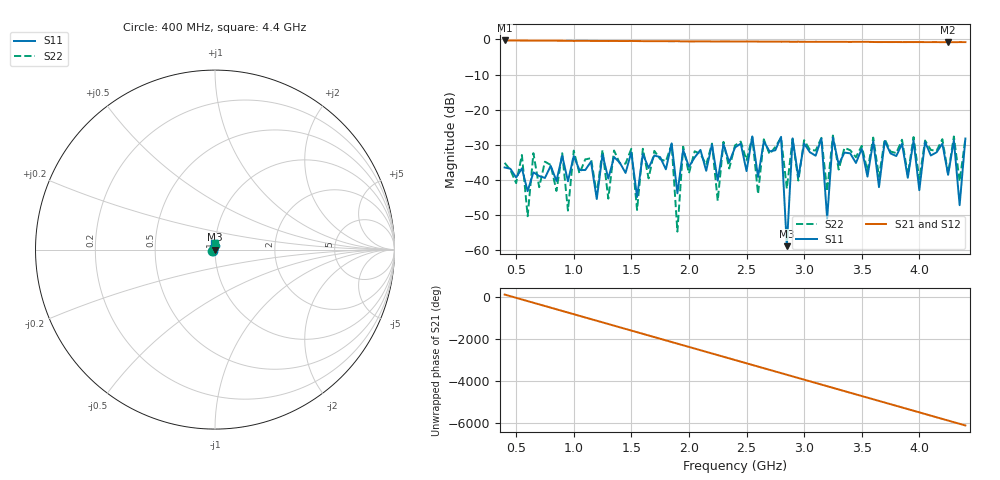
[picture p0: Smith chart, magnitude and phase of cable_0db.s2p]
#  HZ  S  RI  R  50.0
! Rohde & Schwarz ZVL
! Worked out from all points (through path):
!   81 points, 400 MHz to 4.4 GHz, reference 50 ohm
!   highest |S21| = -0.28 dB at 400 MHz (marker M1); lowest = -0.8 dB at 4.25 GHz (marker M2)
!   lowest |S11| = -59.0 dB at 2.85 GHz (marker M3), VSWR 1.00, Z = 49.9 - j0.00098 ohm
!   |S11| at or under -10 dB: start of sweep to end of sweep
!   |S22| runs from -54.8 to -27.4 dB; largest |S21 - S12| = 0.011
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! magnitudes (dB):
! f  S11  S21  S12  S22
! 400 MHz  -36.5  -0.3  -0.3  -35.2
! 600 MHz  -43.3  -0.3  -0.3  -50.5
! 650 MHz  -37.9  -0.3  -0.3  -32.4
! 950 MHz  -40.5  -0.4  -0.4  -48.8
! 1.1 GHz  -37.3  -0.4  -0.4  -34.2
! 1.75 GHz  -33.6  -0.5  -0.5  -34.1
! 1.85 GHz  -29.6  -0.5  -0.5  -29.9
! 1.9 GHz  -43.9  -0.5  -0.5  -54.8
! 1.95 GHz  -31.5  -0.5  -0.6  -30.6
! 2.25 GHz  -40.3  -0.6  -0.6  -46.1
! 2.4 GHz  -30.8  -0.6  -0.6  -30.2
! 2.6 GHz  -39.3  -0.6  -0.6  -44.1
! 2.8 GHz  -27.8  -0.6  -0.6  -28.0
! 2.85 GHz  -59.0  -0.6  -0.6  -42.6
! 2.9 GHz  -28.2  -0.7  -0.6  -28.4
! 3.1 GHz  -33.2  -0.7  -0.7  -31.7
! 3.2 GHz  -51.1  -0.7  -0.7  -43.3
! 3.25 GHz  -27.9  -0.7  -0.7  -27.4
! 3.75 GHz  -32.5  -0.7  -0.8  -32.0
! 4.25 GHz  -38.6  -0.8  -0.7  -38.4
! 4.35 GHz  -47.3  -0.7  -0.8  -40.5
! 4.4 GHz  -28.3  -0.8  -0.8  -28.3
